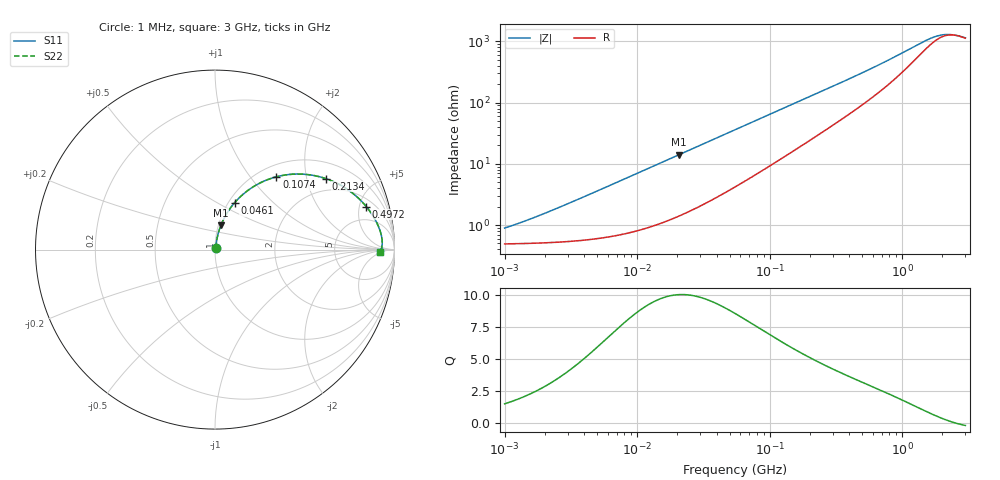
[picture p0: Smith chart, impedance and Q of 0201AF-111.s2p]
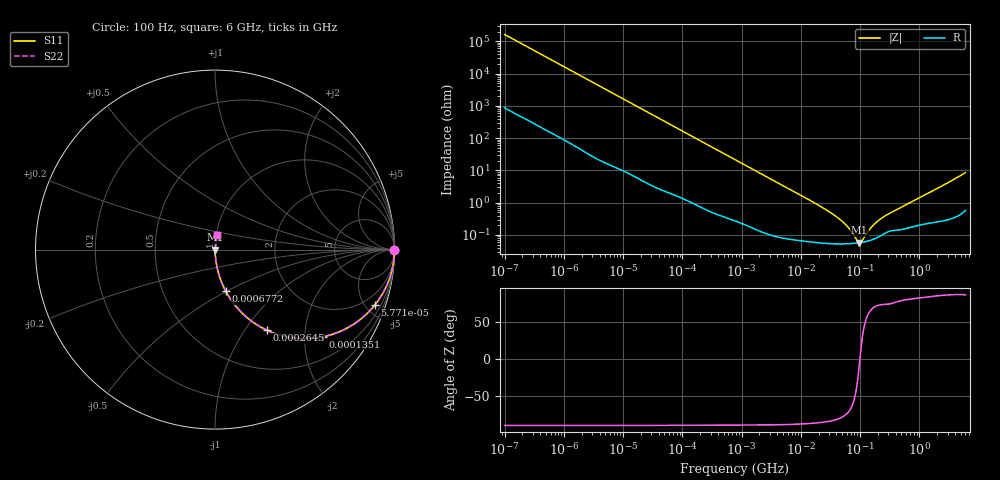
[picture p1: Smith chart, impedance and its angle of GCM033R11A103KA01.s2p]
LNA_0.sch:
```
<QucsStudio Schematic 3.3.2>
<Properties>
View=-930,-1312,2022,1000,0.936285,0,736
Grid=10,10,1
DataSet=*.dat
DataDisplay=*.dpl
OpenDisplay=1
showFrame=0
FrameText0=Title
FrameText1=Drawn By:
FrameText2=Date:
FrameText3=Revision:
</Properties>
<Symbol>
</Symbol>
<Components>
GND * 1 -210 20 0 0 0 0
IProbe iin 1 -300 -160 -46 16 0 0
Lib BFR92A_T1 1 -210 -160 10 -19 0 0 "K_specBJT" 0 "BFR92A" 0 "SOT23" 0
GND * 1 -820 -160 0 0 0 3
Pac P1 1 -750 -160 -26 18 0 3 "1" 1 "50 Ω" 1 "-50 dBm" 0 "f1" 0 "26.85" 0 "SUBCLICK" 0
R R6 5 -240 -200 -54 -26 0 1 "50" 1 "26.85" 0 "0" 0 "0" 0 "26.85" 0 "US" 0 "SMD0603" 0
GND * 1 -210 -520 0 0 0 2
Vdc V1 1 -210 -490 -75 -26 0 2 "5 V" 1 "battery" 0 "SIL-2" 0
GND * 1 -80 -460 0 0 0 1
R R2 5 -140 -460 -26 15 0 0 "1 G" 0 "26.85" 0 "0" 0 "0" 0 "26.85" 0 "US" 0 "SMD0603" 0
C C3 6 -130 -230 -26 -17 0 2 "1" 0 "0" 0 "" 0 "neutral" 0 "SMD0603" 0
C C1 5 -290 -30 -14 3 0 1 "10" 0 "0" 0 "" 0 "neutral" 0 "SMD0603" 0
R R4 5 -210 -30 -66 -61 0 1 "1 G" 1 "26.85" 0 "0" 0 "0" 0 "26.85" 0 "US" 0 "SMD0603" 0
.SP SP1 0 -280 430 0 79 0 0 "log" 1 "2 MHz" 1 "2 GHz" 1 "100" 1 "no" 1 "1" 0 "2" 0 "none" 0
.HB HB1 1 -840 420 0 79 0 0 "32@;8@f1;" 0 "yes" 0 "f1" 0 "lin" 0 "1 kHz" 0 "10 kHz" 0 "100" 0 "0.001" 0 "1 µA" 0 "500" 0
.SW SW1 0 -320 730 0 79 0 0 "AC1" 1 "bias_curr" 1 "log" 1 "1e-9" 1 "1" 1 "1000" 1
_BJT T2 1 -310 200 -73 -26 1 2 "npn" 0 "1e-16" 0 "1" 0 "1" 0 "0" 0 "0" 0 "0" 1 "0" 0 "0" 0 "1.5" 0 "0" 0 "2" 0 "100" 1 "1" 0 "0" 0 "0" 0 "0" 0 "0" 0 "0" 0 "0" 0 "0.75" 0 "0.33" 0 "0" 0 "0.75" 0 "0.33" 0 "1.0" 0 "0" 0 "0.75" 0 "0" 0 "0.5" 0 "0.0" 0 "0.0" 0 "0.0" 0 "0.0" 0 "0.0" 0 "26.85" 0 "0.0" 0 "1.0" 0 "1.0" 0 "0.0" 0 "1.0" 0 "1.0" 0 "0.0" 0 "0.0" 0 "3.0" 0 "1.11" 0 "26.85" 0 "1.0" 0 "7.02e-4" 0 "1108.0" 0 "SOT23" 0
R R7 5 -310 120 -96 -10 0 1 "100" 1 "26.85" 0 "0" 0 "0" 0 "26.85" 0 "US" 0 "SMD0603" 0
GND * 1 -80 260 0 0 0 0
GND * 1 -310 250 0 0 0 0
_BJT T1 1 -80 200 8 -26 0 0 "npn" 0 "1e-16" 0 "1" 0 "1" 0 "0" 0 "0" 0 "0" 1 "0" 0 "0" 0 "1.5" 0 "0" 0 "2" 0 "100" 1 "1" 0 "0" 0 "0" 0 "0" 0 "0" 0 "0" 0 "0" 0 "0.75" 0 "0.33" 0 "0" 0 "0.75" 0 "0.33" 0 "1.0" 0 "0" 0 "0.75" 0 "0" 0 "0.5" 0 "0.0" 0 "0.0" 0 "0.0" 0 "0.0" 0 "0.0" 0 "26.85" 0 "0.0" 0 "1.0" 0 "1.0" 0 "0.0" 0 "1.0" 0 "1.0" 0 "0.0" 0 "0.0" 0 "3.0" 0 "1.11" 0 "26.85" 0 "1.0" 0 "7.02e-4" 0 "1108.0" 0 "SOT23" 0
.SP SP2 0 -540 410 0 79 0 0 "list" 1 "2 MHz" 0 "2 GHz" 0 "f1" 1 "yes" 1 "1" 0 "2" 0 "none" 0
IProbe iload1 1 -80 60 16 -6 1 3
.DC DC1 0 -830 60 0 46 0 0 "0.001" 0 "1 nA" 0 "500" 0 "none" 0
.TR TR1 0 -840 190 0 79 0 0 "lin" 0 "0" 0 "10 ms" 1 "1000" 1 "Trapezoidal" 0 "1e-16" 0 "500" 0 "0.001" 0 "1 µV" 0 "yes" 0 "none" 0
C C9 5 -420 -160 -26 -17 0 2 "1" 0 "0" 0 "" 0 "neutral" 0 "SMD0603" 0
.AC AC1 0 -550 640 0 46 0 0 "list" 1 "1 GHz" 0 "10 GHz" 0 "f1" 1 "yes" 1 "none" 0
.MC MC1 0 -840 630 0 79 0 0 "AC1" 1 "2" 1
.SW SW4 0 290 730 0 79 0 0 "HB1" 1 "vin" 1 "log" 1 "1e-3" 1 "0.5" 1 "50" 1
Eqn Eqn2 1 -90 380 0 8 0 0 "ibias=1e-3=" 1 "f1=400*1e6=" 1 "deltaf=10e6=" 1 "f2=f1+deltaf=" 1 "im31=2*f2-f1=" 1 "alpha1=0.5=" 1 "alpha2=0.5=" 1 "io1=alpha1*yvalue(iload.Ib,f1)=" 1 "io2=alpha2*yvalue(iload.Ib,f1)^2=" 1 "no" 0
GND * 1 50 -90 0 0 0 0
GND * 1 -70 -130 0 0 0 0
GND * 1 420 -230 0 0 0 1
GND * 1 320 -30 0 0 0 0
IProbe iload 1 320 -180 16 -6 1 3
R Load 1 320 -100 15 -26 0 1 "50" 1 "26.85" 0 "0" 0 "0" 0 "26.85" 0 "european" 0 "SMD0603" 0
Pac P2 0 400 -230 -26 -90 0 1 "2" 1 "50 Ω" 1 "-50 dBm" 0 "f1" 0 "26.85" 0 "SUBCLICK" 0
GND * 1 -480 0 0 0 0 0
SPfile X2 1 -480 -80 14 -29 0 3 "0201AF-111.s2p" 0 "2" 0 "polar" 0 "linear" 0 "short" 0 "none" 0 "block" 0 "SOT23" 0
SPfile X1 1 50 -160 14 -29 0 3 "0201AF-111.s2p" 0 "2" 0 "polar" 0 "linear" 0 "short" 0 "none" 0 "block" 0 "SOT23" 0
GND * 1 -530 0 0 0 0 0
Vac V4 4 -740 -230 -26 18 0 3 "vin" 1 "f1" 0 "0" 0 "0" 0 "SUBCLICK" 0
GND * 1 -570 0 0 0 0 0
SPfile X3 1 -520 -160 -29 -39 0 0 "GCM033R11A103KA01.s2p" 0 "2" 0 "polar" 0 "linear" 0 "short" 0 "none" 0 "block" 0 "SOT23" 0
R R5 5 -550 -110 15 -26 0 1 "45" 1 "26.85" 0 "0" 0 "0" 0 "26.85" 0 "US" 0 "SMD0603" 0
SPfile X4 1 120 -230 -29 -39 0 0 "GCM033R11A103KA01.s2p" 0 "2" 0 "polar" 0 "linear" 0 "short" 0 "none" 0 "block" 0 "SOT23" 0
GND * 1 120 -200 0 0 0 0
GND * 1 -520 -110 0 0 0 0
SPfile X5 1 -370 -300 14 -29 0 3 "0201AF-111.s2p" 0 "2" 0 "polar" 0 "linear" 0 "short" 0 "none" 0 "block" 0 "SOT23" 0
GND * 1 -420 -290 0 0 0 0
SPfile X6 1 -210 -420 14 -29 0 3 "0201AF-111.s2p" 0 "2" 0 "polar" 0 "linear" 0 "short" 0 "none" 0 "block" 0 "SOT23" 0
GND * 1 -260 -420 0 0 0 0
.SW SW2 0 -100 730 0 79 0 0 "SP2" 1 "Rload" 1 "log" 1 "1e6" 1 "1" 1 "100" 1
R R8 5 -600 -160 -67 15 0 2 "50" 1 "26.85" 0 "0" 0 "0" 0 "26.85" 0 "US" 0 "SMD0603" 0
Eqn Eqn3 0 190 310 0 8 0 0 "Pavs=0.5*real(vin.v*conj(iin.i))=" 1 "So=0.5*real(vload.v*conj(iload.i))=" 1 "G=So/Pavs=" 1 "Ni=real(vin.vn*conj(iin.in))=" 1 "No=real(vload.vn*conj(iload.in))=" 1 "F=No/(G*Ni)=" 1 "NF=10*log10(F)=" 1 "yes" 0
.SW SW3 0 100 730 0 79 0 0 "AC1" 1 "Cinp" 1 "log" 1 "1e-15" 1 "1e-9" 1 "1000" 1
C C4 5 0 -230 -64 -50 0 2 "4.55e-12" 1 "0" 0 "" 0 "neutral" 0 "SMD0603" 0
</Components>
<Wires>
-210 0 -210 20 "" 0 0 0 ""
-290 -60 -210 -60 "" 0 0 0 ""
-290 0 -210 0 "" 0 0 0 ""
-210 -130 -210 -60 "" 0 0 0 ""
-210 -230 -210 -190 "" 0 0 0 ""
-270 -160 -240 -160 "vin" -270 -280 13 ""
-570 -160 -550 -160 "" 0 0 0 ""
-240 -230 -210 -230 "" 0 0 0 ""
-240 -170 -240 -160 "" 0 0 0 ""
-210 -390 -210 -230 "" 0 0 0 ""
-210 -460 -210 -450 "" 0 0 0 ""
-370 -460 -210 -460 "" 0 0 0 ""
-370 -460 -370 -330 "" 0 0 0 ""
-110 -460 -80 -460 "" 0 0 0 ""
-210 -460 -170 -460 "" 0 0 0 ""
-210 -230 -160 -230 "" 0 0 0 ""
-100 -230 -30 -230 "" 0 0 0 ""
-390 -160 -370 -160 "" 0 0 0 ""
-370 -160 -330 -160 "" 0 0 0 ""
-370 -270 -370 -160 "" 0 0 0 ""
-310 150 -310 170 "" 0 0 0 ""
-310 150 -210 150 "" 0 0 0 ""
-210 150 -210 200 "" 0 0 0 ""
-310 230 -310 250 "" 0 0 0 ""
-280 200 -210 200 "" 0 0 0 ""
-80 230 -80 260 "" 0 0 0 ""
-210 -60 -80 -60 "" 0 0 0 ""
-80 -60 -80 30 "" 0 0 0 ""
-210 200 -110 200 "" 0 0 0 ""
-80 90 -80 170 "" 0 0 0 ""
-820 -160 -800 -160 "" 0 0 0 ""
-800 -160 -780 -160 "" 0 0 0 ""
-800 -230 -800 -160 "" 0 0 0 ""
-800 -230 -770 -230 "" 0 0 0 ""
-720 -160 -660 -160 "" 0 0 0 ""
-660 -160 -630 -160 "" 0 0 0 ""
-660 -230 -660 -160 "vsource" -630 -270 9 ""
-710 -230 -660 -230 "" 0 0 0 ""
50 -130 50 -90 "" 0 0 0 ""
30 -230 50 -230 "" 0 0 0 ""
50 -230 90 -230 "" 0 0 0 ""
50 -230 50 -190 "" 0 0 0 ""
-70 -160 -70 -130 "" 0 0 0 ""
-70 -160 20 -160 "" 0 0 0 ""
150 -230 320 -230 "" 0 0 0 ""
320 -230 320 -210 "" 0 0 0 ""
320 -150 320 -130 "" 0 0 0 ""
320 -70 320 -30 "" 0 0 0 ""
420 -230 430 -230 "" 0 0 0 ""
320 -230 370 -230 "vload" 290 -330 12 ""
-490 -160 -480 -160 "" 0 0 0 ""
-480 -160 -450 -160 "" 0 0 0 ""
-480 -160 -480 -110 "" 0 0 0 ""
-480 -50 -480 0 "" 0 0 0 ""
-530 -80 -530 0 "" 0 0 0 ""
-530 -80 -510 -80 "" 0 0 0 ""
-550 -160 -550 -140 "" 0 0 0 ""
-570 -80 -570 0 "" 0 0 0 ""
-570 -80 -550 -80 "" 0 0 0 ""
-520 -130 -520 -110 "" 0 0 0 ""
-420 -300 -420 -290 "" 0 0 0 ""
-420 -300 -400 -300 "" 0 0 0 ""
-260 -420 -240 -420 "" 0 0 0 ""
-210 -460 -210 -460 "vcc" -180 -510 0 ""
-310 90 -310 90 "vcc" -370 40 0 ""
</Wires>
<Diagrams>
<Tab 557 778 533 149 71 #c0c0c0 1 00 1 0 1 1 1 0 1 1 1 0 1 1000 315 0 225 "" "" "">
	<"G" "" #0000ff 0 3 1 0 0 0 "">
	<"NF" "" #0000ff 0 3 1 0 0 0 "">
	<"iload1.i" "" #0000ff 0 3 0 0 0 0 "">
</Tab>
<Rect 551 -145 229 164 31 #c0c0c0 1 10 1 1e+08 1 1e+09 1 0.685379 0.2 1.91604 1 0 0 0 315 0 225 "" "" "">
	<Legend 10 -100 0>
	<"NF" "" #0000ff 2 3 0 0 0 0 "">
	<"NFmin" "" #ff0000 2 3 0 0 0 0 "">
</Rect>
<Smith 1408 348 309 309 71 #c0c0c0 1 00 1 0 1 1 1 0 4 1 1 0 4 1 315 0 225 "" "" "">
	<Legend 10 -100 0>
	<"S[1,1]" "" #0000ff 3 3 0 5 0 0 "">
	  <Mkr 1 52 -88 3 1 0 0 0 50>
	<"Sopt" "" #ff00ff 3 3 0 5 0 0 "">
	  <Mkr 1 182 -288 3 1 0 0 0 50>
</Smith>
<Rect 967 -129 609 329 31 #c0c0c0 1 11 0 0.001 1 0.3 1 1e-14 1 0.0003 1 0 0 0 315 0 225 "" "" "">
	<Legend 10 -100 0>
	<"yvalue(iload.Ib,2*f1)" "" #0055ff 2 3 0 0 0 0 "">
	  <Mkr 1 693 -181 3 1 0 0 0 50>
	<"yvalue(iload.Ib,3*f1)" "" #ff0000 2 3 0 0 0 0 "">
	<"yvalue(iload.Ib,f1)" "" #ff00ff 2 3 0 0 0 0 "">
	  <Mkr 1 353 -421 3 1 0 0 0 50>
	<"alpha1*yvalue(iload.Ib,f1)" "" #00ff00 2 3 0 0 0 0 "">
	<"alpha1*yvalue(iload.Ib,f1)" "" #00ffff 2 3 0 0 0 0 "">
	<"alpha2*yvalue(iload.Ib,f1)^2" "" #000000 2 3 0 0 0 0 "">
</Rect>
<Tab 687 578 533 149 71 #c0c0c0 1 00 1 0 1 1 1 0 1 1 1 0 1 100 315 0 225 "" "" "">
	<"rollet()" "" #0000ff 0 3 1 0 0 0 "">
	<"abs(detS())" "" #0000ff 0 3 1 0 0 0 "">
</Tab>
<Smith 778 322 352 352 71 #c0c0c0 1 00 1 0 1 1 0 0 4 1 1 0 4 1 315 0 225 "" "" "">
	<Legend 10 -100 0>
	<"S[1,1]" "" #0000ff 3 3 0 4 0 0 "">
	  <Mkr 1 362 -42 3 1 0 0 0 50>
	<"stabL()" "" #ff0000 3 3 0 1 0 0 "">
	  <Mkr 3 402 -382 3 1 0 0 0 50>
	<"S[2,2]" "" #ff00ff 3 3 0 5 0 0 "">
	  <Mkr 1 -268 -322 3 1 0 0 0 50>
	<"stabS()" "" #00ff00 3 3 0 1 0 0 "">
	  <Mkr 60 -228 -82 3 1 0 0 0 50>
</Smith>
</Diagrams>
<Paintings>
Text -352 -1292 14 #ff5500 0 "Use o circuito abaixo como ponto de partida para o projeto de um LNA  \n baseado no transistor BFR92A @ 400 MHz. \n  \n 1 - Modificar o ponto de operação para que o amplificador  \n apresente o maior ganho de potência possível. \n 2 - Verificar e garantir a estabilidade do ampificador para a \n carga escolhida \n 3 - Considerar uma fonte com P_{avs}=-50 dBm@50 \\Omega \n 4 - Considerar uma carga de 50 \\Omega \n 5 - Projetar rede de adaptação (entrada) para garantir NF_{min} \n 6 - Projetar rede de adaptação (saída) para garantir Ganho máximo \n 7 - Refazer item 2 \n 8 - Substituir as fontes de alimentação ideais por circuitos de polarização,  \n considerando apenas uma fonte de tensão de 5 V. \n 9 - Voltar ao item 2  (e itens seguintes) e reajustar o projeto se necessário \n 10 - Verificar todas as figuras de mérito relativas à distorção. \n 11 - Trocar todos os componentes passivos por modelos de fabricantes  \n (usar modelos da Murata e/ou Coilcraft) \n 12 - Reavaliar o amplificador e readequar o projeto se necessário. \n 13 - Plotar histogramas das principais figuras de mérito após fazer  \n simulação de Monte Carlo considerando a tolerância dos componentes."
</Paintings>
```
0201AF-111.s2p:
!AWR Design Environment (3650) Fri Oct 20 16:03:10 2017
!freq-unit  param-type  data-format  keyword  impedance-ohms
# MHz  S  MA  R  50
!Freq  MagS11  AngS11  MagS21  AngS21  MagS12  AngS12  MagS22  AngS22
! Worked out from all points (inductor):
!   806 points, 1 MHz to 3 GHz, reference 50 ohm
!   read as one part in series: L = 115 nH near 2.13 MHz
!   highest Q = 9.99 at 20.8 MHz (marker M1), where L = 108 nH
!   self-resonance near 2.584 GHz
!   S11 on the Smith chart (normalised r, x): 1 MHz: 1.01, +0.01; 46.1 MHz: 1.07, +0.61; 107.4 MHz: 1.20, +1.36; 213.4 MHz: 1.52, +2.61; 497.2 MHz: 2.82, +5.83; 3 GHz: 24, -4
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1  0.008895 56.2  0.9951 -0.4  0.9951 -0.4  0.008895 56.2
6.301648  0.04456 79.2  0.9926 -2.5  0.9926 -2.5  0.04456 79.2
20.79788  0.1382 76.4  0.9767 -7.9  0.9767 -7.9  0.1382 76.4
46.10297  0.2827 67.3  0.9284 -16.3  0.9284 -16.3  0.2827 67.3
55.14595  0.3282 64.3  0.9071 -19.0  0.9071 -19.0  0.3282 64.3
107.4102  0.5307 49.8  0.7728 -31.7  0.7728 -31.7  0.5307 49.8
213.4128  0.7327 32.7  0.5511 -45.9  0.5511 -45.9  0.7327 32.7
497.207  0.8762 15.9  0.287 -56.7  0.287 -56.7  0.8762 15.9
1776.941  0.9327 2.3  0.07786 -29.1  0.07786 -29.1  0.9327 2.3
2256.244  0.9295 0.8  0.0717 -9.9  0.0717 -9.9  0.9295 0.8
3000  0.9204 -0.7  0.08057 8.3  0.08057 8.3  0.9204 -0.7
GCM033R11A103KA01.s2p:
!Murata Part Number: GCM033R11A103KA01
!These Parameters are Measured in Series Mode Connection
!Data Generated on Sep 23, 2020
!  o--ll--o
!Port1  Port2
!  o------o
!Operation Temp=25[degC], DC Bias Voltage=0[V]
!Freq. Start=100[Hz] Stop=6[GHz] 401[Steps]
# Hz S RI R 50
!Freq.(Hz) S11(Real) S11(Imag) S21(Real) S21(Imag) S12(Real) S12(Imag) S22(Real) S22(Imag)
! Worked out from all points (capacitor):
!   401 points, 100 Hz to 6 GHz, reference 50 ohm
!   read as one part in series: C = 9.78 nF near 109 Hz
!   lowest |Z| = 57.7 mohm at 97.54 MHz (marker M1)
!   series resonance near 99.48 MHz, so ESL is about 260 pH
!   S11 on the Smith chart (normalised r, x): 100 Hz: open; 57.71 kHz: 1.04, -5.76; 135.1 kHz: 1.02, -2.47; 264.5 kHz: 1.01, -1.27; 677.2 kHz: 1.01, -0.50; 6 GHz: 1.01, +0.17
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100  1 -0.000615  3.7e-06 0.000615  3.7e-06 0.000615  1 -0.000615
8047  0.9973 -0.0487  0.00265 0.0487  0.00265 0.0487  0.9973 -0.0487
57709  0.8906 -0.3086  0.1094 0.3086  0.1094 0.3086  0.8906 -0.3086
135116  0.6031 -0.485  0.3969 0.485  0.3969 0.485  0.6031 -0.485
264476  0.2878 -0.4482  0.7122 0.4482  0.7122 0.4482  0.2878 -0.4482
677235  0.0606 -0.2327  0.9394 0.2327  0.9394 0.2327  0.0606 -0.2327
774597  0.0475 -0.2065  0.9525 0.2065  0.9525 0.2065  0.0475 -0.2065
3.184506e7  0.000558 -0.00486  0.9994 0.00486  0.9994 0.00486  0.000558 -0.00486
9.753859e7  0.000572 -6.74e-05  0.9994 6.74e-05  0.9994 6.74e-05  0.000572 -6.74e-05
2.497637e8  0.00107 0.00349  0.9989 -0.00349  0.9989 -0.00349  0.00107 0.00349
6e9  0.0128 0.0836  0.9872 -0.0836  0.9872 -0.0836  0.0128 0.0836
